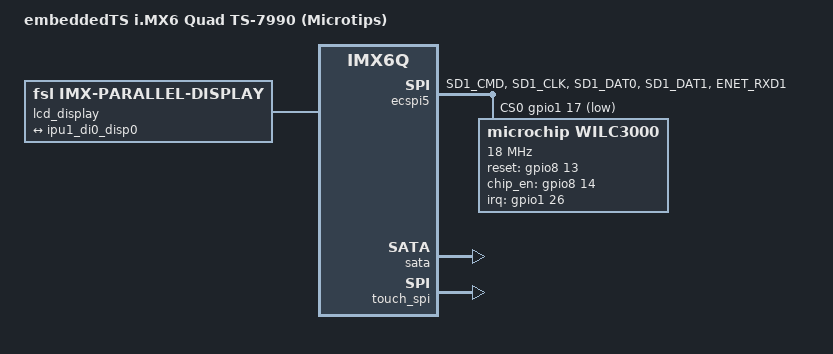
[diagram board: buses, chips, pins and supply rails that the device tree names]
// SPDX-License-Identifier: GPL-2.0 OR X11
/*
 * Copyright 2017-2022 Technologic Systems, Inc. dba embeddedTS
 */

/dts-v1/;
#include "imx6q.dtsi"
#include "imx6qdl-ts7990.dtsi"

/ {
	model = "embeddedTS i.MX6 Quad TS-7990 (Microtips)";
	compatible = "fsl,imx6q-ts7990", "fsl,imx6q";

	lcd_display: disp0 {
		compatible = "fsl,imx-parallel-display";
		#address-cells = <1>;
		#size-cells = <0>;
		interface-pix-fmt = "rgb24";
		pinctrl-names = "default";
		pinctrl-0 = <&pinctrl_ipu>;

		display-timings {
			MICROTIPS-WVGA {
				clock-frequency = <30030000>;
				hactive = <800>;
				vactive = <480>;
				hfront-porch = <46>;
				hback-porch = <210>;
				hsync-len = <1>;
				vback-porch = <22>;
				vfront-porch = <23>;
				vsync-len = <1>;

				de-active = <1>;
				pixelclk-active = <1>;
			};
		};

		port@0 {
			lcd_display_in: endpoint {
				remote-endpoint = <&ipu1_di0_disp0>;
			};
		};
	};
};

&ecspi5 {
	pinctrl-names = "default";
	pinctrl-0 = <&pinctrl_ecspi5>;
	num-cs = <1>;
	cs-gpios = <&gpio1 17 GPIO_ACTIVE_LOW>;
	status = "okay";

	wilc3000: wifi@0 {
		compatible = "microchip,wilc3000";
		reg = <0>;
		spi-max-frequency = <18000000>;
		reset-gpios = <&gpio8 13 GPIO_ACTIVE_HIGH>;
		chip_en-gpios = <&gpio8 14 GPIO_ACTIVE_HIGH>;
		interrupt-parent = <&gpio1>;
		interrupts = <26 IRQ_TYPE_EDGE_FALLING>;
	};
};

&iomuxc {
	imx6-ts7990 {
		pinctrl_ecspi5: ecspi5grp {
			fsl,pins = <
				MX6QDL_PAD_SD1_CMD__ECSPI5_MOSI		0x100b1
				MX6QDL_PAD_SD1_CLK__ECSPI5_SCLK		0x100b1
				MX6QDL_PAD_SD1_DAT0__ECSPI5_MISO	0x100b1
				MX6QDL_PAD_SD1_DAT1__GPIO1_IO17		0x1b088 /* SPI_1_CS# */
				MX6QDL_PAD_ENET_RXD1__GPIO1_IO26	0x1b088 /* WIFI_IRQ# */
				/* XXX: Add chip-en and reset GPIOS */
			>;
		};
	};
};

&ipu1_di0_disp0 {
	remote-endpoint = <&lcd_display_in>;
};

&sata {
	status = "okay";
};

&touch_spi {
	status = "okay";
};
